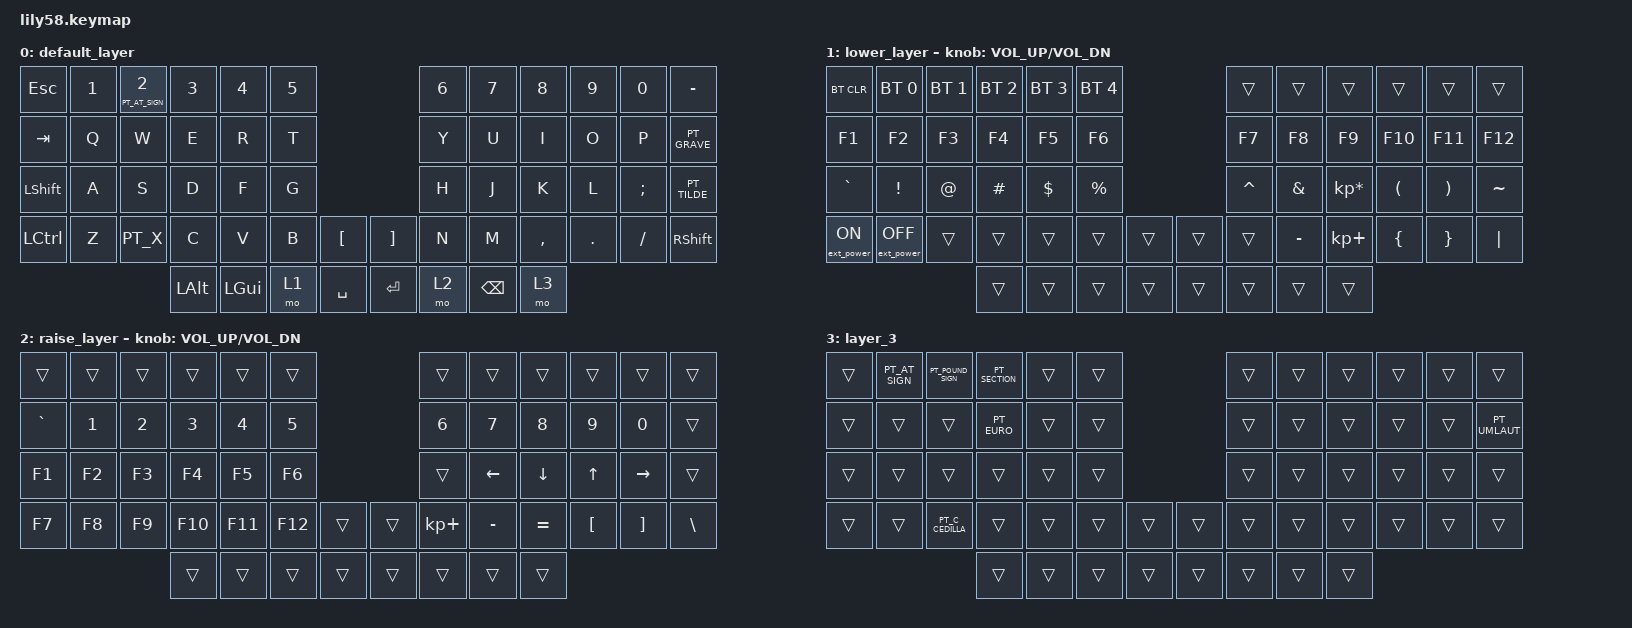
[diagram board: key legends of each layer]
/*
 * Copyright (c) 2020 The ZMK Contributors
 *
 * SPDX-License-Identifier: MIT
 */

#include "keys_pt.h"
#include <behaviors.dtsi>
#include <dt-bindings/zmk/bt.h>
#include <dt-bindings/zmk/ext_power.h>
#include <dt-bindings/zmk/keys.h>

&mt { tapping-term-ms = <800>; };

/ {
    keymap {
        compatible = "zmk,keymap";

        default_layer {
            // ------------------------------------------------------------------------------------------------------------
            // |  ESC  |  1  |  2@  |  3   |  4   |  5   |                   |  6   |  7    |  8    |  9   |   0   |   `   |
            // |  TAB  |  Q  |  W  |  E   |  R   |  T   |                   |  Y   |  U    |  I    |  O   |   P   |   -   |
            // |  CTRL |  A  |  S  |  D   |  F   |  G   |                   |  H   |  J    |  K    |  L   |   ;   |   '   |
            // | SHIFT |  Z  |  X  |  C   |  V   |  B   |   "["  |  |  "]"  |  N   |  M    |  ,    |  .   |   /   | SHIFT |
            //                     | ALT  | GUI  | LOWER|  SPACE |  | ENTER | RAISE| BSPC  | GUI   |

            bindings = <
&kp ESC           &kp N1  &mt PT_AT_SIGN NUMBER_2  &kp N3    &kp N4    &kp N5                         &kp N6  &kp N7    &kp N8     &kp N9   &kp N0    &kp MINUS
&kp TAB           &kp Q   &kp W                    &kp E     &kp R     &kp T                          &kp Y   &kp U     &kp I      &kp O    &kp P     &kp PT_GRAVE
&kp LEFT_SHIFT    &kp A   &kp S                    &kp D     &kp F     &kp G                          &kp H   &kp J     &kp K      &kp L    &kp SEMI  &kp PT_TILDE
&kp LEFT_CONTROL  &kp Z   &kp PT_X                 &kp C     &kp V     &kp B   &kp LBKT     &kp RBKT  &kp N   &kp M     &kp COMMA  &kp DOT  &kp FSLH  &kp RSHFT
                                                   &kp LALT  &kp LGUI  &mo 1   &kp SPACE    &kp RET   &mo 2   &kp BSPC  &mo 3
            >;
        };

        lower_layer {
            // ------------------------------------------------------------------------------------------------------------
            // | BTCLR | BT1 | BT2 |  BT3 |  BT4 |  BT5 |                   |      |       |       |      |       |       |
            // |  F1   |  F2 |  F3 |  F4  |  F5  |  F6  |                   |  F7  |  F8   |  F9   |  F10 |  F11  |  F12  |
            // |   `   |  !  |  @  |  #   |  $   |  %   |                   |  ^   |  &    |  *    |  (   |   )   |   ~   |
            // |EXPP_ON|EPOFF|     |      |      |      |     |  |       |      |  _    |  +    |  {   |   }   |  "|"  |
            //                     |      |      |      |        |  |       |      |       |       |

            bindings = <
&bt BT_CLR        &bt BT_SEL 0       &bt BT_SEL 1  &bt BT_SEL 2  &bt BT_SEL 3  &bt BT_SEL 4                    &trans     &trans     &trans           &trans    &trans    &trans
&kp F1            &kp F2             &kp F3        &kp F4        &kp F5        &kp F6                          &kp F7     &kp F8     &kp F9           &kp F10   &kp F11   &kp F12
&kp GRAVE         &kp EXCL           &kp AT        &kp HASH      &kp DOLLAR    &kp PRCNT                       &kp CARET  &kp AMPS   &kp KP_MULTIPLY  &kp LPAR  &kp RPAR  &kp TILDE
&ext_power EP_ON  &ext_power EP_OFF  &trans        &trans        &trans        &trans        &trans    &trans  &trans     &kp MINUS  &kp KP_PLUS      &kp LBRC  &kp RBRC  &kp PIPE
                                                   &trans        &trans        &trans        &trans    &trans  &trans     &trans     &trans
            >;

            sensor-bindings = <&inc_dec_kp C_VOL_UP C_VOL_DN>;
        };

        raise_layer {
            // ------------------------------------------------------------------------------------------------------------
            // |       |     |     |      |      |      |                   |      |       |       |      |       |       |
            // |   `   |  1  |  2  |  3   |  4   |  5   |                   |  6   |   7   |   8   |  9   |   0   |       |
            // |   F1  |  F2 |  F3 |  F4  |  F5  |  F6  |                   |      |   <-  |   v   |  ^   |  ->   |       |
            // |   F7  |  F8 |  F9 |  F10 |  F11 |  F12 |        |  |       |  +   |   -   |   =   |  [   |   ]   |   \   |
            //                     |      |      |      |        |  |       |      |       |       |

            bindings = <
&trans     &trans  &trans  &trans   &trans   &trans                     &trans       &trans     &trans     &trans    &trans     &trans
&kp GRAVE  &kp N1  &kp N2  &kp N3   &kp N4   &kp N5                     &kp N6       &kp N7     &kp N8     &kp N9    &kp N0     &trans
&kp F1     &kp F2  &kp F3  &kp F4   &kp F5   &kp F6                     &trans       &kp LEFT   &kp DOWN   &kp UP    &kp RIGHT  &trans
&kp F7     &kp F8  &kp F9  &kp F10  &kp F11  &kp F12  &trans    &trans  &kp KP_PLUS  &kp MINUS  &kp EQUAL  &kp LBKT  &kp RBKT   &kp BSLH
                           &trans   &trans   &trans   &trans    &trans  &trans       &trans     &trans
            >;

            sensor-bindings = <&inc_dec_kp C_VOL_UP C_VOL_DN>;
        };

        layer_3 {
            bindings = <
&trans  &kp PT_AT_SIGN  &kp PT_POUND_SIGN  &kp PT_SECTION  &trans  &trans                    &trans  &trans  &trans  &trans  &trans  &trans
&trans  &trans          &trans             &kp PT_EURO     &trans  &trans                    &trans  &trans  &trans  &trans  &trans  &kp PT_UMLAUT
&trans  &trans          &trans             &trans          &trans  &trans                    &trans  &trans  &trans  &trans  &trans  &trans
&trans  &trans          &kp PT_C_CEDILLA   &trans          &trans  &trans  &trans    &trans  &trans  &trans  &trans  &trans  &trans  &trans
                                           &trans          &trans  &trans  &trans    &trans  &trans  &trans  &trans
            >;
        };
    };
};
